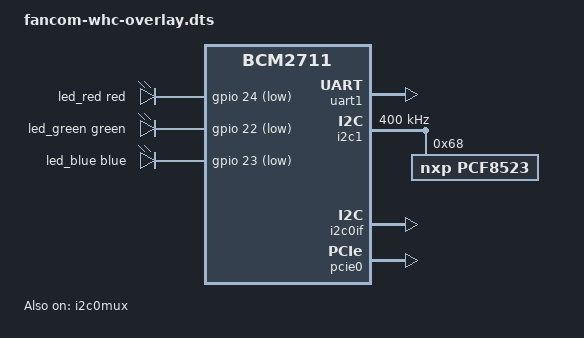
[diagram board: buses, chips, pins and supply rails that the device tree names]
/*
 * Nobleo Technology
 */

/dts-v1/;
/plugin/;
#include <dt-bindings/gpio/gpio.h>
#include <dt-bindings/pinctrl/bcm2835.h>
#include <dt-bindings/interrupt-controller/irq.h>
#include <dt-bindings/clock/bcm2835.h>

#include <dt-bindings/gpio/gpio.h>
#include <dt-bindings/leds/common.h>

#include "cma-overlay.dts"

/ {
	compatible = "raspberrypi,4-compute-module", "brcm,bcm2835", "brcm,bcm2711";

	fragment@0 {
		target = <&gpio>;
		__overlay__ {
			i2c1_pins: i2c1 {
				brcm,pins = <44 45>;
				brcm,function = <BCM2835_FSEL_ALT2>;
				brcm,pull = <BCM2835_PUD_UP>;
			};

			key_gpio: key_gpio {
				brcm,pins = <7 8>;
				brcm,function = <BCM2835_FSEL_GPIO_IN>;
				brcm,pull = <BCM2835_PUD_UP>;
			};
		};
	};

	fragment@1 { /* Debug port */
		target = <&uart1_pins>;
		__overlay__ {
			brcm,pins = <14 15>; /* pin 51, 55 */
			brcm,function = <BCM2835_FSEL_ALT0>;
			brcm,pull = <0 2>;
		};
	};

	fragment@2 { /* Debug port */
		target = <&uart1>;
		__overlay__ {
			status = "okay";
			pinctrl-names = "default";
			pinctrl-0 = <&uart1_pins>;
		};
	};

	/* Fixes because RPI does stupid stuff. */
	fragment@3 {
		target = <&phy1>;
		__overlay__ {
			reg = <0>;
		};
	};

	fragment@4 {
		target = <&i2c1>;
		__overlay__ {
			#gpio-cells = <2>;
			#address-cells = <1>;
			#size-cells = <0>;
			status = "okay";

			pinctrl-names = "default";
			pinctrl-0 = <&i2c1_pins>;
			clock-frequency = <400000>;

			pcf8523@68 {
				compatible = "nxp,pcf8523";
				reg = <0x68>;
				/* quartz-load-femtofarads in femto Farad (fF)
				 *
				 * Actual is 6000fF, driver accepts min/max of 7000/12500
				 */
				quartz-load-femtofarads = <7000>;
				status = "okay";
			};
		};
	};

	fragment@5 {
		target = <&i2c0if>;
		__overlay__ {
			status = "okay";
		};
	};

	fragment@6 {
		target = <&i2c0mux>;
		__overlay__ {
			status = "okay";
		};
	};

	fragment@8 {
		target = <&pcie0>;
		__overlay__ {
			status = "okay";
			compatible = "brcm,bcm2711-pcie", "brcm,bcm7445-pcie";
			max-link-speed = <2>;

			pci@1,0 {
				status = "okay";
				/delete-node/ usb@1,0;
			};
		};
	};

	fragment@9 {
		target-path = "/";
		__overlay__ {
			leds_rgb {
				compatible = "gpio-leds"; /* See leds-gpio.yaml */
				led_red {
					gpios = <&gpio 24 GPIO_ACTIVE_LOW>; /* pin 45 */
					color = <LED_COLOR_ID_RED>;
					default-state = "off";
				};


				led_green {
					gpios = <&gpio 22 GPIO_ACTIVE_LOW>; /* pin 46 */
					color = <LED_COLOR_ID_GREEN>;
					default-state = "off";
				};

				led_blue {
					gpios = <&gpio 23 GPIO_ACTIVE_LOW>; /* pin 47 */
					color = <LED_COLOR_ID_BLUE>;
					default-state = "off";
				};
			};
		};
	};

	fragment@10 {
		target = <&spi0>;
		__overlay__ {
			status = "disabled";
		};
	};
};


